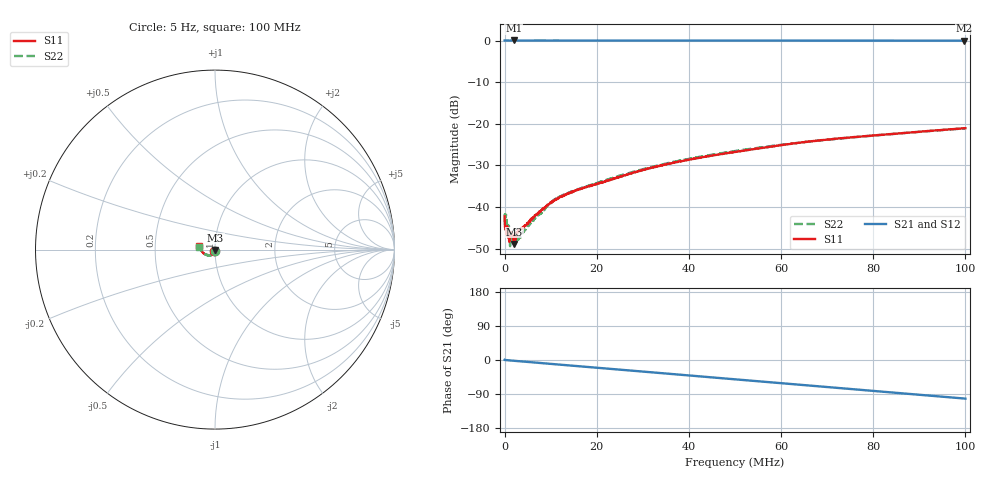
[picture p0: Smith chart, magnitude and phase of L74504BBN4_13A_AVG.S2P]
!Agilent Technologies,E5061B,MY49102235,A.02.00
!Date: Tue Jul 11 16:39:18 2023
!Data & Calibration Information:
!Freq	S11:SOLT2(ON)	S21:SOLT2(ON)	S12:SOLT2(ON)	S22:SOLT2(ON)
# Hz S RI R 50
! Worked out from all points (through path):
!   1600 points, 5 Hz to 100 MHz, reference 50 ohm
!   highest |S21| = 0.02 dB at 2.001 MHz (marker M1); lowest = 0.0 dB at 99.75 MHz (marker M2)
!   group delay of S21, straight-line fit = 2.83 ns
!   lowest |S11| = -48.9 dB at 2.126 MHz (marker M3), VSWR 1.01, Z = 50.3 - j0.24 ohm
!   |S11| at or under -10 dB: start of sweep to end of sweep
!   |S22| runs from -49.4 to -21.1 dB; largest |S21 - S12| = 0.0027
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5  -0.00529 -0.00565  1.002 0.00793  1 0.0103  -0.0016 -0.00754
437778.6  0.00514 -0.000478  1.001 -0.00552  1.001 -0.00621  0.00662 -0.00211
625395.8  0.00508 -0.000451  1.002 -0.0107  1.002 -0.0102  0.00609 -0.000837
938091.3  0.00435 -0.000156  1.001 -0.0154  1.001 -0.015  0.00592 -0.000734
1500943  0.00439 -0.0021  1.001 -0.0254  1.001 -0.0253  0.00304 -0.00326
2001256  0.00307 -0.00228  1.002 -0.0356  1.001 -0.0352  0.00321 -0.00201
2126334  0.00269 -0.00239  1.001 -0.0379  1 -0.0372  0.00385 -0.00183
2439029  0.0038 -0.00238  0.9998 -0.0438  0.9993 -0.0432  0.00365 -0.00191
2751725  0.00423 -0.00263  1 -0.0485  0.9996 -0.0481  0.00324 -0.00234
3252037  0.00431 -0.00331  0.9994 -0.0577  0.9991 -0.0575  0.00323 -0.00281
6003757  0.0035 -0.00625  0.9953 -0.1065  0.9953 -0.1061  0.00308 -0.00608
9505946  0.00185 -0.0105  0.9868 -0.1685  0.9868 -0.1681  0.00132 -0.0106
1.156974e7  0.000556 -0.0129  0.9801 -0.2044  0.9797 -0.204  -0.00026 -0.0131
1.669794e7  -0.00269 -0.0165  0.9568 -0.2928  0.9566 -0.2924  -0.00301 -0.0167
2.582865e7  -0.00831 -0.0223  0.8971 -0.4436  0.8968 -0.4434  -0.00624 -0.0237
3.333334e7  -0.0153 -0.027  0.8296 -0.559  0.8295 -0.5586  -0.014 -0.0283
4.033771e7  -0.0228 -0.0299  0.7535 -0.6575  0.7535 -0.6571  -0.0224 -0.0312
5.003127e7  -0.0339 -0.031  0.6294 -0.777  0.6293 -0.7766  -0.0342 -0.0322
6.672921e7  -0.0566 -0.0256  0.3738 -0.9263  0.3741 -0.9262  -0.056 -0.0258
8.33646e7  -0.0746 -0.00756  0.0877 -0.9941  0.0878 -0.9941  -0.0742 -0.00926
9.974984e7  -0.0867 0.0177  -0.2015 -0.976  -0.2012 -0.9761  -0.0866 0.015
1e8  -0.0868 0.0181  -0.2059 -0.9752  -0.2056 -0.9752  -0.0869 0.0156
